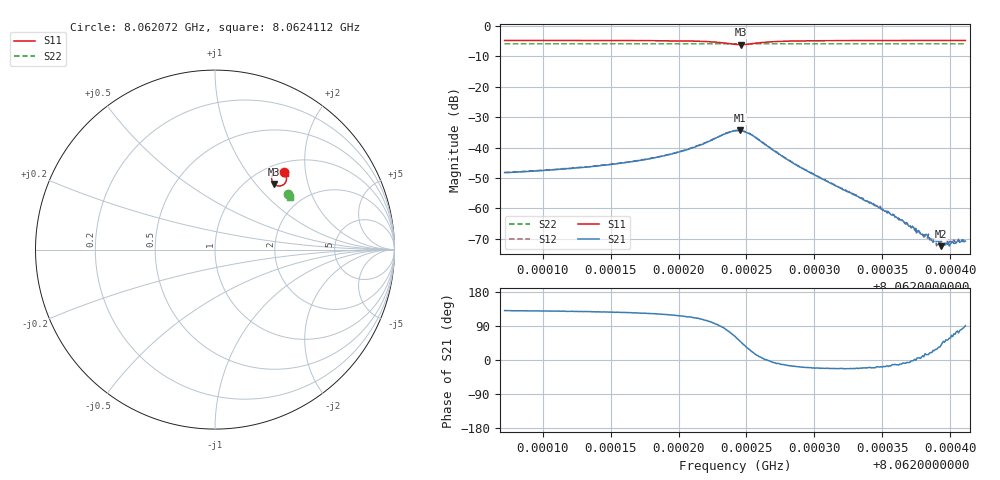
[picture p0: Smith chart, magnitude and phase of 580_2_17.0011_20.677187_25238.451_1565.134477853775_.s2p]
#  HZ  S  RI  R  50.00
! Rohde & Schwarz Vector Network Analyzer
! Rohde-Schwarz,ZNB20-2Port,1311601062101988,3.16
! Created: UTC 3/20/2024, 11:18:05 PM
! freq[Hz]  re:S11  im:S11  re:S21  im:S21  re:S12  im:S12  re:S22  im:S22
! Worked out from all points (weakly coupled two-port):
!   401 points, 8.062072 GHz to 8.0624112 GHz, reference 50 ohm
!   highest |S21| = -34.39 dB at 8.062245 GHz (marker M1); lowest = -72.4 dB at 8.0623934 GHz (marker M2)
!   lowest |S11| = -6.2 dB at 8.0622458 GHz (marker M3), VSWR 2.93, Z = 65.1 + j62.6 ohm
!   |S11| at or under -10 dB: nowhere
!   |S22| runs from -5.9 to -5.9 dB; largest |S21 - S12| = 0.0013
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8.06207196e9  0.3819 0.4311  -0.00251 0.00295  -0.00232 0.00313  0.4053 0.3075
8.06212878e9  0.3875 0.4252  -0.0029 0.0037  -0.00269 0.00389  0.4076 0.3044
8.06215932e9  0.3913 0.4202  -0.00325 0.00454  -0.00299 0.00478  0.4084 0.3028
8.06218561e9  0.3953 0.4127  -0.00364 0.006  -0.00329 0.00624  0.4094 0.3011
8.06220681e9  0.3986 0.4004  -0.00369 0.00848  -0.00331 0.00879  0.4102 0.2995
8.06222802e9  0.3908 0.3715  -0.00102 0.0145  -0.000285 0.0146  0.4102 0.2974
8.06224159e9  0.3478 0.3553  0.00869 0.0167  0.00988 0.0162  0.4083 0.2964
8.06224498e9  0.3326 0.3622  0.0121 0.0147  0.013 0.0141  0.408 0.2968
8.06224583e9  0.3294 0.3649  0.0127 0.014  0.0137 0.0133  0.4078 0.297
8.06225346e9  0.3157 0.3972  0.015 0.00651  0.0153 0.00567  0.408 0.2983
8.06227975e9  0.3518 0.4368  0.00624 -0.00155  0.00619 -0.00192  0.4109 0.2983
8.06229841e9  0.3652 0.4366  0.00348 -0.00135  0.00345 -0.00153  0.4123 0.2972
8.06235524e9  0.3811 0.4304  0.000822 -0.000219  0.000793 -0.000269  0.4148 0.294
8.06237644e9  0.3839 0.4285  0.000428 4.19e-05  0.000435 7.35e-06  0.4156 0.2928
8.06237984e9  0.3844 0.4282  0.000367 7.23e-05  0.000354 5.18e-05  0.4156 0.2927
8.06238323e9  0.3848 0.428  0.000349 8.69e-05  0.000321 4.07e-05  0.4157 0.2923
8.06238577e9  0.3852 0.4278  0.000293 0.000104  0.00029 8.68e-05  0.4158 0.2923
8.06238917e9  0.3854 0.4274  0.000262 0.00014  0.000259 0.000149  0.4159 0.2922
8.06239341e9  0.3859 0.4271  0.000184 0.000153  0.000244 0.000178  0.4162 0.292
8.0623968e9  0.3862 0.4269  0.00016 0.000215  0.00018 0.000176  0.4164 0.2918
8.06240104e9  0.3868 0.4266  0.000115 0.000248  0.000167 0.000229  0.4164 0.2915
8.06241122e9  0.3878 0.4258  -2.03e-06 0.00029  3.75e-05 0.000294  0.4167 0.2911
